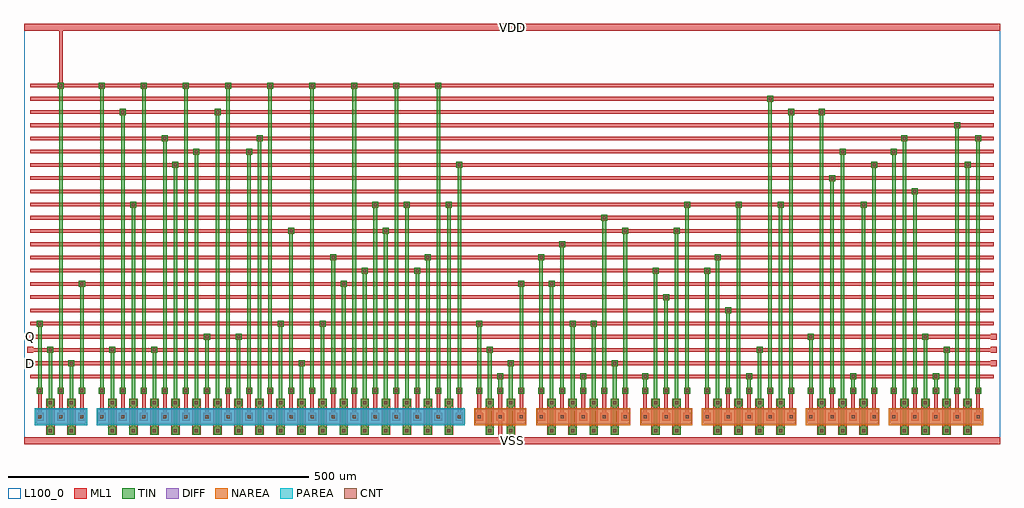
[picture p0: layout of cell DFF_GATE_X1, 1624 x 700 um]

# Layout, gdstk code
import gdstk
lib = gdstk.Library(unit=1e-6, precision=1e-09)
def R(c, l, rs):  # rectangles x0, y0, x1, y1
    for r in rs: c.add(gdstk.rectangle(r[:2], r[2:], *l))
def A(c, l, x, y, w, h, nx, ny, dx, dy):  # array of equal rectangles
    R(c, l, [(x+i*dx, y+j*dy, x+i*dx+w, y+j*dy+h) for i in range(nx) for j in range(ny)])
DIFF = (3, 0)
TIN = (5, 0)
CNT = (7, 0)
ML1 = (8, 0)
PAREA = (18, 0)
NAREA = (19, 0)
L100_0 = (100, 0)

dff_gate_x1 = lib.new_cell('DFF_GATE_X1')
R(dff_gate_x1, DIFF, [(20,34,103,58), (123,34,731,58), (751,34,834,58), (854,34,1007,58), (1027,34,1110,58), (1130,34,1283,58), (1303,34,1421,58), (1441,34,1594,58)])
A(dff_gate_x1, TIN, 140.5, 16, 13, 13, 17, 2, 35, 47)
A(dff_gate_x1, TIN, 871.5, 16, 13, 13, 4, 2, 35, 47)
A(dff_gate_x1, TIN, 1147.5, 16, 13, 13, 4, 2, 35, 47)
A(dff_gate_x1, TIN, 1320.5, 16, 13, 13, 3, 2, 35, 47)
A(dff_gate_x1, TIN, 1458.5, 16, 13, 13, 4, 2, 35, 47)
A(dff_gate_x1, TIN, 144, 28, 6, 37.5, 17, 1, 35, 0)
A(dff_gate_x1, TIN, 875, 28, 6, 37.5, 4, 1, 35, 0)
A(dff_gate_x1, TIN, 1151, 28, 6, 37.5, 4, 1, 35, 0)
A(dff_gate_x1, TIN, 1324, 28, 6, 37.5, 3, 1, 35, 0)
A(dff_gate_x1, TIN, 1462, 28, 6, 37.5, 4, 1, 35, 0)
A(dff_gate_x1, TIN, 21.5, 84, 10, 10, 3, 1, 35, 0)
A(dff_gate_x1, TIN, 124.5, 84, 10, 10, 18, 1, 35, 0)
A(dff_gate_x1, TIN, 752.5, 84, 10, 10, 3, 1, 35, 0)
A(dff_gate_x1, TIN, 855.5, 84, 10, 10, 5, 1, 35, 0)
A(dff_gate_x1, TIN, 1028.5, 84, 10, 10, 3, 1, 35, 0)
A(dff_gate_x1, TIN, 1131.5, 84, 10, 10, 5, 1, 35, 0)
A(dff_gate_x1, TIN, 1304.5, 84, 10, 10, 4, 1, 35, 0)
A(dff_gate_x1, TIN, 1442.5, 84, 10, 10, 5, 1, 35, 0)
A(dff_gate_x1, TIN, 126.5, 89, 6, 508, 9, 1, 70, 0)
A(dff_gate_x1, TIN, 1030.5, 89, 6, 24, 3, 1, 173, 0)
A(dff_gate_x1, TIN, 1028.5, 108, 10, 10, 3, 1, 173, 0)
A(dff_gate_x1, TIN, 124.5, 592, 10, 10, 9, 1, 70, 0)
R(dff_gate_x1, TIN, [(37.5,16,50.5,29), (72.5,16,85.5,29), (768.5,16,781.5,29), (803.5,16,816.5,29), (1044.5,16,1057.5,29), (1079.5,16,1092.5,29), (41,28,47,65.5), (76,28,82,65.5), (772,28,778,65.5), (807,28,813,65.5), (1048,28,1054,65.5), (1083,28,1089,65.5), (37.5,63,50.5,76), (72.5,63,85.5,76), (768.5,63,781.5,76), (803.5,63,816.5,76), (1044.5,63,1057.5,76), (1079.5,63,1092.5,76), (41,69.5,47,157), (76,69.5,82,135), (144,69.5,150,157), (179,69.5,185,399), (214,69.5,220,157), (249,69.5,255,465), (284,69.5,290,487), (319,69.5,325,553), (354,69.5,360,179), (389,69.5,395,509), (424,69.5,430,201), (459,69.5,465,135), (494,69.5,500,201), (529,69.5,535,267), (564,69.5,570,289), (599,69.5,605,355), (634,69.5,640,399), (669,69.5,675,311), (704,69.5,710,399), (772,69.5,778,157), (807,69.5,813,135), (875,69.5,881,267), (910,69.5,916,201), (945,69.5,951,201), (980,69.5,986,135), (1048,69.5,1054,289), (1083,69.5,1089,355), (1151,69.5,1157,311), (1186,69.5,1192,399), (1221,69.5,1227,157), (1256,69.5,1262,399), (1324,69.5,1330,553), (1359,69.5,1365,487), (1394,69.5,1400,399), (1462,69.5,1468,509), (1497,69.5,1503,179), (1532,69.5,1538,157), (1567,69.5,1573,465), (23.5,89,29.5,201), (58.5,89,64.5,597), (93.5,89,99.5,267), (161.5,89,167.5,553), (231.5,89,237.5,509), (301.5,89,307.5,179), (371.5,89,377.5,487), (441.5,89,447.5,355), (511.5,89,517.5,311), (581.5,89,587.5,399), (651.5,89,657.5,289), (721.5,89,727.5,465), (754.5,89,760.5,201), (789.5,89,795.5,113), (824.5,89,830.5,267), (857.5,89,863.5,311), (892.5,89,898.5,333), (927.5,89,933.5,113), (962.5,89,968.5,377), (997.5,89,1003.5,355), (1065.5,89,1071.5,245), (1100.5,89,1106.5,399), (1133.5,89,1139.5,289), (1168.5,89,1174.5,223), (1238.5,89,1244.5,575), (1273.5,89,1279.5,553), (1306.5,89,1312.5,179), (1341.5,89,1347.5,443), (1411.5,89,1417.5,465), (1444.5,89,1450.5,487), (1479.5,89,1485.5,421), (1514.5,89,1520.5,113), (1549.5,89,1555.5,531), (1584.5,89,1590.5,509), (787.5,108,797.5,118), (925.5,108,935.5,118), (1512.5,108,1522.5,118), (74,130,84,140), (457,130,467,140), (805,130,815,140), (978,130,988,140), (39,152,49,162), (142,152,152,162), (212,152,222,162), (770,152,780,162), (1219,152,1229,162), (1530,152,1540,162), (299.5,174,309.5,184), (352,174,362,184), (1304.5,174,1314.5,184), (1495,174,1505,184), (21.5,196,31.5,206), (422,196,432,206), (492,196,502,206), (752.5,196,762.5,206), (908,196,918,206), (943,196,953,206), (1166.5,218,1176.5,228), (1063.5,240,1073.5,250), (91.5,262,101.5,272), (527,262,537,272), (822.5,262,832.5,272), (873,262,883,272), (562,284,572,294), (649.5,284,659.5,294), (1046,284,1056,294), (1131.5,284,1141.5,294), (509.5,306,519.5,316), (667,306,677,316), (855.5,306,865.5,316), (1149,306,1159,316), (890.5,328,900.5,338), (439.5,350,449.5,360), (597,350,607,360), (995.5,350,1005.5,360), (1081,350,1091,360), (960.5,372,970.5,382), (177,394,187,404), (579.5,394,589.5,404), (632,394,642,404), (702,394,712,404), (1098.5,394,1108.5,404), (1184,394,1194,404), (1254,394,1264,404), (1392,394,1402,404), (1477.5,416,1487.5,426), (1339.5,438,1349.5,448), (247,460,257,470), (719.5,460,729.5,470), (1409.5,460,1419.5,470), (1565,460,1575,470), (282,482,292,492), (369.5,482,379.5,492), (1357,482,1367,492), (1442.5,482,1452.5,492), (229.5,504,239.5,514), (387,504,397,514), (1460,504,1470,514), (1582.5,504,1592.5,514), (1547.5,526,1557.5,536), (159.5,548,169.5,558), (317,548,327,558), (1271.5,548,1281.5,558), (1322,548,1332,558), (1236.5,570,1246.5,580), (56.5,592,66.5,602)])
A(dff_gate_x1, CNT, 144.5, 20, 5, 5, 17, 2, 35, 47)
A(dff_gate_x1, CNT, 875.5, 20, 5, 5, 4, 2, 35, 47)
A(dff_gate_x1, CNT, 1151.5, 20, 5, 5, 4, 2, 35, 47)
A(dff_gate_x1, CNT, 1324.5, 20, 5, 5, 3, 2, 35, 47)
A(dff_gate_x1, CNT, 1462.5, 20, 5, 5, 4, 2, 35, 47)
A(dff_gate_x1, CNT, 24, 43.5, 5, 5, 3, 2, 35, 43)
A(dff_gate_x1, CNT, 127, 43.5, 5, 5, 18, 2, 35, 43)
A(dff_gate_x1, CNT, 755, 43.5, 5, 5, 3, 2, 35, 43)
A(dff_gate_x1, CNT, 858, 43.5, 5, 5, 5, 2, 35, 43)
A(dff_gate_x1, CNT, 1031, 43.5, 5, 5, 3, 2, 35, 43)
A(dff_gate_x1, CNT, 1134, 43.5, 5, 5, 5, 2, 35, 43)
A(dff_gate_x1, CNT, 1307, 43.5, 5, 5, 4, 2, 35, 43)
A(dff_gate_x1, CNT, 1445, 43.5, 5, 5, 5, 2, 35, 43)
A(dff_gate_x1, CNT, 1031, 110.5, 5, 5, 3, 1, 173, 0)
A(dff_gate_x1, CNT, 127, 594.5, 5, 5, 9, 1, 70, 0)
R(dff_gate_x1, CNT, [(41.5,20,46.5,25), (76.5,20,81.5,25), (772.5,20,777.5,25), (807.5,20,812.5,25), (1048.5,20,1053.5,25), (1083.5,20,1088.5,25), (41.5,67,46.5,72), (76.5,67,81.5,72), (772.5,67,777.5,72), (807.5,67,812.5,72), (1048.5,67,1053.5,72), (1083.5,67,1088.5,72), (790,110.5,795,115.5), (928,110.5,933,115.5), (1515,110.5,1520,115.5), (76.5,132.5,81.5,137.5), (459.5,132.5,464.5,137.5), (807.5,132.5,812.5,137.5), (980.5,132.5,985.5,137.5), (41.5,154.5,46.5,159.5), (144.5,154.5,149.5,159.5), (214.5,154.5,219.5,159.5), (772.5,154.5,777.5,159.5), (1221.5,154.5,1226.5,159.5), (1532.5,154.5,1537.5,159.5), (302,176.5,307,181.5), (354.5,176.5,359.5,181.5), (1307,176.5,1312,181.5), (1497.5,176.5,1502.5,181.5), (24,198.5,29,203.5), (424.5,198.5,429.5,203.5), (494.5,198.5,499.5,203.5), (755,198.5,760,203.5), (910.5,198.5,915.5,203.5), (945.5,198.5,950.5,203.5), (1169,220.5,1174,225.5), (1066,242.5,1071,247.5), (94,264.5,99,269.5), (529.5,264.5,534.5,269.5), (825,264.5,830,269.5), (875.5,264.5,880.5,269.5), (564.5,286.5,569.5,291.5), (652,286.5,657,291.5), (1048.5,286.5,1053.5,291.5), (1134,286.5,1139,291.5), (512,308.5,517,313.5), (669.5,308.5,674.5,313.5), (858,308.5,863,313.5), (1151.5,308.5,1156.5,313.5), (893,330.5,898,335.5), (442,352.5,447,357.5), (599.5,352.5,604.5,357.5), (998,352.5,1003,357.5), (1083.5,352.5,1088.5,357.5), (963,374.5,968,379.5), (179.5,396.5,184.5,401.5), (582,396.5,587,401.5), (634.5,396.5,639.5,401.5), (704.5,396.5,709.5,401.5), (1101,396.5,1106,401.5), (1186.5,396.5,1191.5,401.5), (1256.5,396.5,1261.5,401.5), (1394.5,396.5,1399.5,401.5), (1480,418.5,1485,423.5), (1342,440.5,1347,445.5), (249.5,462.5,254.5,467.5), (722,462.5,727,467.5), (1412,462.5,1417,467.5), (1567.5,462.5,1572.5,467.5), (284.5,484.5,289.5,489.5), (372,484.5,377,489.5), (1359.5,484.5,1364.5,489.5), (1445,484.5,1450,489.5), (232,506.5,237,511.5), (389.5,506.5,394.5,511.5), (1462.5,506.5,1467.5,511.5), (1585,506.5,1590,511.5), (1550,528.5,1555,533.5), (162,550.5,167,555.5), (319.5,550.5,324.5,555.5), (1274,550.5,1279,555.5), (1324.5,550.5,1329.5,555.5), (1239,572.5,1244,577.5), (59,594.5,64,599.5)])
A(dff_gate_x1, ML1, 140, 16, 14, 60, 17, 1, 35, 0)
A(dff_gate_x1, ML1, 140.5, 16, 13, 13, 17, 2, 35, 47)
A(dff_gate_x1, ML1, 871, 16, 14, 60, 4, 1, 35, 0)
A(dff_gate_x1, ML1, 871.5, 16, 13, 13, 4, 2, 35, 47)
A(dff_gate_x1, ML1, 1147, 16, 14, 60, 4, 1, 35, 0)
A(dff_gate_x1, ML1, 1147.5, 16, 13, 13, 4, 2, 35, 47)
A(dff_gate_x1, ML1, 1320, 16, 14, 60, 3, 1, 35, 0)
A(dff_gate_x1, ML1, 1320.5, 16, 13, 13, 3, 2, 35, 47)
A(dff_gate_x1, ML1, 1458, 16, 14, 60, 4, 1, 35, 0)
A(dff_gate_x1, ML1, 1458.5, 16, 13, 13, 4, 2, 35, 47)
A(dff_gate_x1, ML1, 20, 39.5, 13, 13, 3, 1, 35, 0)
A(dff_gate_x1, ML1, 123, 39.5, 13, 13, 18, 1, 35, 0)
A(dff_gate_x1, ML1, 751, 39.5, 13, 13, 3, 1, 35, 0)
A(dff_gate_x1, ML1, 854, 39.5, 13, 13, 5, 1, 35, 0)
A(dff_gate_x1, ML1, 1027, 39.5, 13, 13, 3, 1, 35, 0)
A(dff_gate_x1, ML1, 1130, 39.5, 13, 13, 5, 1, 35, 0)
A(dff_gate_x1, ML1, 1303, 39.5, 13, 13, 4, 1, 35, 0)
A(dff_gate_x1, ML1, 1441, 39.5, 13, 13, 5, 1, 35, 0)
A(dff_gate_x1, ML1, 23.5, 46, 6, 43, 3, 1, 35, 0)
A(dff_gate_x1, ML1, 126.5, 46, 6, 43, 18, 1, 35, 0)
A(dff_gate_x1, ML1, 754.5, 46, 6, 43, 3, 1, 35, 0)
A(dff_gate_x1, ML1, 857.5, 46, 6, 43, 5, 1, 35, 0)
A(dff_gate_x1, ML1, 1030.5, 46, 6, 43, 3, 1, 35, 0)
A(dff_gate_x1, ML1, 1133.5, 46, 6, 43, 5, 1, 35, 0)
A(dff_gate_x1, ML1, 1306.5, 46, 6, 43, 4, 1, 35, 0)
A(dff_gate_x1, ML1, 1444.5, 46, 6, 43, 5, 1, 35, 0)
A(dff_gate_x1, ML1, 21.5, 84, 10, 10, 3, 1, 35, 0)
A(dff_gate_x1, ML1, 124.5, 84, 10, 10, 18, 1, 35, 0)
A(dff_gate_x1, ML1, 752.5, 84, 10, 10, 3, 1, 35, 0)
A(dff_gate_x1, ML1, 855.5, 84, 10, 10, 5, 1, 35, 0)
A(dff_gate_x1, ML1, 1028.5, 84, 10, 10, 3, 1, 35, 0)
A(dff_gate_x1, ML1, 1131.5, 84, 10, 10, 5, 1, 35, 0)
A(dff_gate_x1, ML1, 1304.5, 84, 10, 10, 4, 1, 35, 0)
A(dff_gate_x1, ML1, 1442.5, 84, 10, 10, 5, 1, 35, 0)
A(dff_gate_x1, ML1, 1028.5, 108, 10, 10, 3, 1, 173, 0)
A(dff_gate_x1, ML1, 10, 110, 1604, 6, 1, 23, 0, 22)
A(dff_gate_x1, ML1, 5, 130, 10, 10, 1, 3, 0, 22)
A(dff_gate_x1, ML1, 1609, 130, 10, 10, 1, 3, 0, 22)
A(dff_gate_x1, ML1, 124.5, 592, 10, 10, 9, 1, 70, 0)
R(dff_gate_x1, ML1, [(0,0,1624,12), (789.5,3,795.5,92), (37,16,51,76), (37.5,16,50.5,29), (72,16,86,76), (72.5,16,85.5,29), (768,16,782,76), (768.5,16,781.5,29), (803,16,817,76), (803.5,16,816.5,29), (1044,16,1058,76), (1044.5,16,1057.5,29), (1079,16,1093,76), (1079.5,16,1092.5,29), (37.5,63,50.5,76), (72.5,63,85.5,76), (768.5,63,781.5,76), (803.5,63,816.5,76), (1044.5,63,1057.5,76), (1079.5,63,1092.5,76), (787.5,108,797.5,118), (925.5,108,935.5,118), (1512.5,108,1522.5,118), (74,130,84,140), (457,130,467,140), (805,130,815,140), (978,130,988,140), (39,152,49,162), (142,152,152,162), (212,152,222,162), (770,152,780,162), (1219,152,1229,162), (1530,152,1540,162), (299.5,174,309.5,184), (352,174,362,184), (1304.5,174,1314.5,184), (1495,174,1505,184), (21.5,196,31.5,206), (422,196,432,206), (492,196,502,206), (752.5,196,762.5,206), (908,196,918,206), (943,196,953,206), (1166.5,218,1176.5,228), (1063.5,240,1073.5,250), (91.5,262,101.5,272), (527,262,537,272), (822.5,262,832.5,272), (873,262,883,272), (562,284,572,294), (649.5,284,659.5,294), (1046,284,1056,294), (1131.5,284,1141.5,294), (509.5,306,519.5,316), (667,306,677,316), (855.5,306,865.5,316), (1149,306,1159,316), (890.5,328,900.5,338), (439.5,350,449.5,360), (597,350,607,360), (995.5,350,1005.5,360), (1081,350,1091,360), (960.5,372,970.5,382), (177,394,187,404), (579.5,394,589.5,404), (632,394,642,404), (702,394,712,404), (1098.5,394,1108.5,404), (1184,394,1194,404), (1254,394,1264,404), (1392,394,1402,404), (1477.5,416,1487.5,426), (1339.5,438,1349.5,448), (247,460,257,470), (719.5,460,729.5,470), (1409.5,460,1419.5,470), (1565,460,1575,470), (282,482,292,492), (369.5,482,379.5,492), (1357,482,1367,492), (1442.5,482,1452.5,492), (229.5,504,239.5,514), (387,504,397,514), (1460,504,1470,514), (1582.5,504,1592.5,514), (1547.5,526,1557.5,536), (159.5,548,169.5,558), (317,548,327,558), (1271.5,548,1281.5,558), (1322,548,1332,558), (1236.5,570,1246.5,580), (56.5,592,66.5,602), (58.5,594,64.5,697), (0,688,1624,700)])
R(dff_gate_x1, PAREA, [(18,32,105,60), (121,32,733,60)])
R(dff_gate_x1, NAREA, [(749,32,836,60), (852,32,1009,60), (1025,32,1112,60), (1128,32,1285,60), (1301,32,1423,60), (1439,32,1596,60)])
R(dff_gate_x1, L100_0, [(0,0,1624,700)])
dff_gate_x1.add(gdstk.Label('D', (10,135), layer=13, texttype=0))
dff_gate_x1.add(gdstk.Label('CLK', (10,157), layer=13, texttype=0))
dff_gate_x1.add(gdstk.Label('Q', (10,179), layer=13, texttype=0))
dff_gate_x1.add(gdstk.Label('VDD', (812,694), layer=13, texttype=0))
dff_gate_x1.add(gdstk.Label('VSS', (812,6), layer=13, texttype=0))

lib.write_gds('DFF_GATE_X1.gds')
